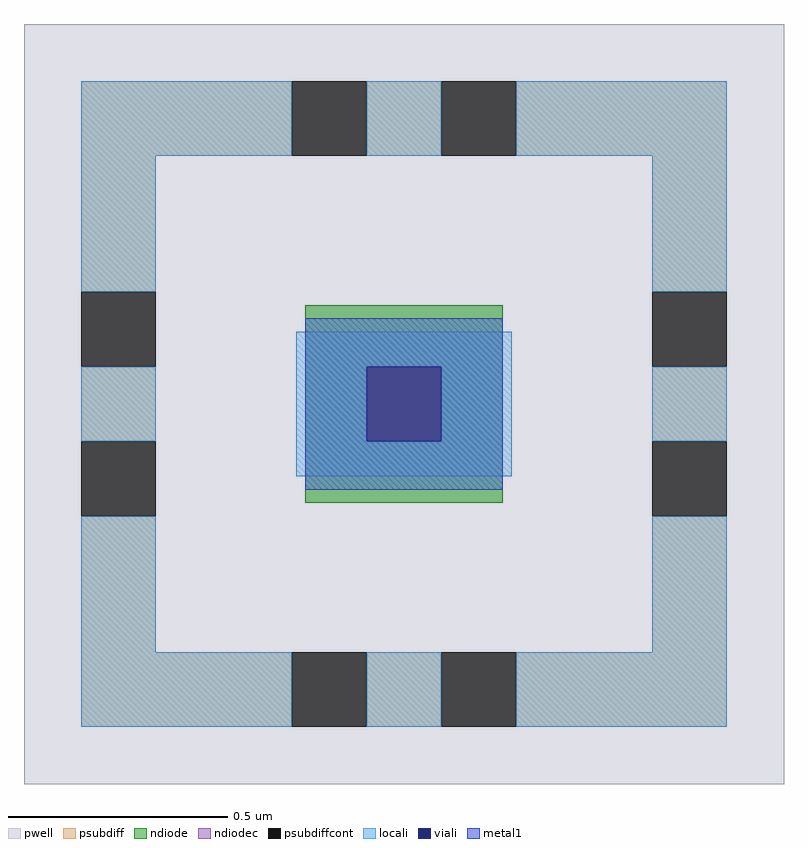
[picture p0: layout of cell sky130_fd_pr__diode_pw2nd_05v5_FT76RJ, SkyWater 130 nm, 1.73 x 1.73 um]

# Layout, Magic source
magic
tech sky130A
magscale 1 2
<< pwell >>
rect -831 78 -485 424
<< psubdiff >>
rect -805 364 -709 398
rect -675 364 -641 398
rect -607 364 -511 398
rect -805 302 -771 364
rect -545 302 -511 364
rect -805 234 -771 268
rect -545 234 -511 268
rect -805 138 -771 200
rect -545 138 -511 200
rect -805 104 -709 138
rect -675 104 -641 138
rect -607 104 -511 138
<< psubdiffcont >>
rect -709 364 -675 398
rect -641 364 -607 398
rect -805 268 -771 302
rect -805 200 -771 234
rect -545 268 -511 302
rect -545 200 -511 234
rect -709 104 -675 138
rect -641 104 -607 138
<< ndiode >>
rect -703 268 -613 296
rect -703 234 -675 268
rect -641 234 -613 268
rect -703 206 -613 234
<< ndiodec >>
rect -675 234 -641 268
<< locali >>
rect -805 364 -709 398
rect -675 364 -641 398
rect -607 364 -511 398
rect -805 302 -771 364
rect -545 302 -511 364
rect -805 234 -771 268
rect -707 268 -609 284
rect -707 234 -675 268
rect -641 234 -609 268
rect -707 218 -609 234
rect -545 234 -511 268
rect -805 138 -771 200
rect -545 138 -511 200
rect -805 104 -709 138
rect -675 104 -641 138
rect -607 104 -511 138
<< viali >>
rect -675 234 -641 268
<< metal1 >>
rect -703 268 -613 290
rect -703 234 -675 268
rect -641 234 -613 268
rect -703 212 -613 234
<< properties >>
string FIXED_BBOX -788 121 -528 381
<< end >>
